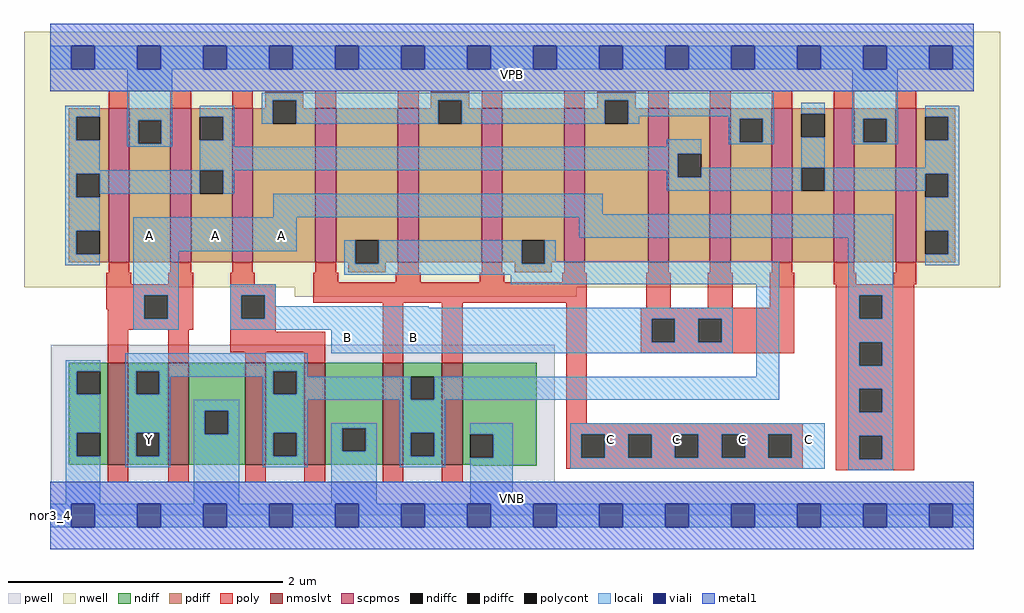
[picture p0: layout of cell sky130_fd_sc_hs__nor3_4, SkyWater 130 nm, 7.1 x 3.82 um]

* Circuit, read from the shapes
.subckt sky130_fd_sc_hs__nor3_4 A B C VGND VNB VPB VPWR Y
XM1 Y A VGND VNB sky130_fd_pr__nfet_01v8_lvt w=0.74 l=0.15 m=2
XM2 Y B VGND VNB sky130_fd_pr__nfet_01v8_lvt w=0.74 l=0.15 m=2
XM3 Y C VGND VNB sky130_fd_pr__nfet_01v8_lvt w=0.74 l=0.15 m=2
XM4 VPWR A n1 VPB sky130_fd_pr__pfet_01v8 w=1.12 l=0.15 m=4
XM5 n2 B n1 VPB sky130_fd_pr__pfet_01v8 w=1.12 l=0.15 m=4
XM6 Y C n2 VPB sky130_fd_pr__pfet_01v8 w=1.12 l=0.15 m=4
.ends

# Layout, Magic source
magic
tech sky130A
magscale 1 2
<< nwell >>
rect -38 332 1382 704
rect 356 318 766 332
<< pwell >>
rect 1 49 734 248
rect 0 0 1344 49
<< scpmos >>
rect 85 368 115 592
rect 175 368 205 592
rect 265 368 295 592
rect 386 368 416 592
rect 506 368 536 592
rect 628 368 658 592
rect 748 368 778 592
rect 870 368 900 592
rect 960 368 990 592
rect 1050 368 1080 592
rect 1140 368 1170 592
rect 1230 368 1260 592
<< nmoslvt >>
rect 84 74 114 222
rect 172 74 202 222
rect 284 74 314 222
rect 370 74 400 222
rect 484 74 514 222
rect 570 74 600 222
<< ndiff >>
rect 27 210 84 222
rect 27 176 39 210
rect 73 176 84 210
rect 27 120 84 176
rect 27 86 39 120
rect 73 86 84 120
rect 27 74 84 86
rect 114 210 172 222
rect 114 176 125 210
rect 159 176 172 210
rect 114 120 172 176
rect 114 86 125 120
rect 159 86 172 120
rect 114 74 172 86
rect 202 152 284 222
rect 202 118 225 152
rect 259 118 284 152
rect 202 74 284 118
rect 314 210 370 222
rect 314 176 325 210
rect 359 176 370 210
rect 314 120 370 176
rect 314 86 325 120
rect 359 86 370 120
rect 314 74 370 86
rect 400 127 484 222
rect 400 93 425 127
rect 459 93 484 127
rect 400 74 484 93
rect 514 202 570 222
rect 514 168 525 202
rect 559 168 570 202
rect 514 120 570 168
rect 514 86 525 120
rect 559 86 570 120
rect 514 74 570 86
rect 600 118 708 222
rect 600 84 611 118
rect 645 84 708 118
rect 600 74 708 84
rect 615 72 708 74
<< pdiff >>
rect 313 604 368 616
rect 313 592 324 604
rect 27 580 85 592
rect 27 546 38 580
rect 72 546 85 580
rect 27 497 85 546
rect 27 463 38 497
rect 72 463 85 497
rect 27 414 85 463
rect 27 380 38 414
rect 72 380 85 414
rect 27 368 85 380
rect 115 575 175 592
rect 115 541 128 575
rect 162 541 175 575
rect 115 368 175 541
rect 205 580 265 592
rect 205 546 218 580
rect 252 546 265 580
rect 205 502 265 546
rect 205 468 218 502
rect 252 468 265 502
rect 205 368 265 468
rect 295 570 324 592
rect 358 592 368 604
rect 554 604 610 616
rect 554 592 565 604
rect 358 570 386 592
rect 295 368 386 570
rect 416 400 506 592
rect 416 368 444 400
rect 434 366 444 368
rect 478 368 506 400
rect 536 570 565 592
rect 599 592 610 604
rect 796 604 852 616
rect 796 592 807 604
rect 599 570 628 592
rect 536 368 628 570
rect 658 400 748 592
rect 658 368 686 400
rect 478 366 488 368
rect 434 354 488 366
rect 676 366 686 368
rect 720 368 748 400
rect 778 570 807 592
rect 841 592 852 604
rect 841 570 870 592
rect 778 368 870 570
rect 900 526 960 592
rect 900 492 913 526
rect 947 492 960 526
rect 900 368 960 492
rect 990 577 1050 592
rect 990 543 1003 577
rect 1037 543 1050 577
rect 990 368 1050 543
rect 1080 584 1140 592
rect 1080 550 1093 584
rect 1127 550 1140 584
rect 1080 506 1140 550
rect 1080 472 1093 506
rect 1127 472 1140 506
rect 1080 368 1140 472
rect 1170 577 1230 592
rect 1170 543 1183 577
rect 1217 543 1230 577
rect 1170 368 1230 543
rect 1260 580 1317 592
rect 1260 546 1273 580
rect 1307 546 1317 580
rect 1260 497 1317 546
rect 1260 463 1273 497
rect 1307 463 1317 497
rect 1260 414 1317 463
rect 1260 380 1273 414
rect 1307 380 1317 414
rect 1260 368 1317 380
rect 720 366 730 368
rect 676 354 730 366
<< ndiffc >>
rect 39 176 73 210
rect 39 86 73 120
rect 125 176 159 210
rect 125 86 159 120
rect 225 118 259 152
rect 325 176 359 210
rect 325 86 359 120
rect 425 93 459 127
rect 525 168 559 202
rect 525 86 559 120
rect 611 84 645 118
<< pdiffc >>
rect 38 546 72 580
rect 38 463 72 497
rect 38 380 72 414
rect 128 541 162 575
rect 218 546 252 580
rect 218 468 252 502
rect 324 570 358 604
rect 444 366 478 400
rect 565 570 599 604
rect 686 366 720 400
rect 807 570 841 604
rect 913 492 947 526
rect 1003 543 1037 577
rect 1093 550 1127 584
rect 1093 472 1127 506
rect 1183 543 1217 577
rect 1273 546 1307 580
rect 1273 463 1307 497
rect 1273 380 1307 414
<< poly >>
rect 85 592 115 618
rect 175 592 205 618
rect 265 592 295 618
rect 386 592 416 618
rect 506 592 536 618
rect 85 353 115 368
rect 175 353 205 368
rect 265 353 295 368
rect 386 353 416 368
rect 628 592 658 618
rect 748 592 778 618
rect 506 353 536 368
rect 628 353 658 368
rect 870 592 900 618
rect 960 592 990 618
rect 1050 592 1080 618
rect 1140 592 1170 618
rect 1230 592 1260 618
rect 748 353 778 368
rect 870 353 900 368
rect 960 353 990 368
rect 1050 353 1080 368
rect 1140 353 1170 368
rect 1230 353 1260 368
rect 82 336 118 353
rect 172 336 208 353
rect 82 320 208 336
rect 82 300 137 320
rect 84 286 137 300
rect 171 286 208 320
rect 84 270 208 286
rect 262 336 298 353
rect 383 339 419 353
rect 503 339 539 353
rect 625 339 661 353
rect 745 339 781 353
rect 262 320 328 336
rect 262 286 278 320
rect 312 286 328 320
rect 383 309 781 339
rect 84 222 114 270
rect 172 222 202 270
rect 262 267 328 286
rect 262 237 400 267
rect 284 222 314 237
rect 370 222 400 237
rect 484 222 514 309
rect 570 222 600 309
rect 84 48 114 74
rect 172 48 202 74
rect 284 48 314 74
rect 370 48 400 74
rect 484 48 514 74
rect 570 48 600 74
rect 751 134 781 309
rect 867 302 903 353
rect 957 302 993 353
rect 1047 302 1083 353
rect 1140 336 1173 353
rect 1227 336 1260 353
rect 859 286 1083 302
rect 859 252 875 286
rect 909 252 943 286
rect 977 252 1083 286
rect 859 236 1083 252
rect 1143 320 1257 336
rect 1143 286 1177 320
rect 1211 286 1257 320
rect 1143 252 1257 286
rect 1143 218 1177 252
rect 1211 218 1257 252
rect 1143 184 1257 218
rect 1143 150 1177 184
rect 1211 150 1257 184
rect 751 118 1095 134
rect 751 84 773 118
rect 807 84 841 118
rect 875 84 909 118
rect 943 84 977 118
rect 1011 84 1045 118
rect 1079 84 1095 118
rect 751 68 1095 84
rect 1143 116 1257 150
rect 1143 82 1177 116
rect 1211 82 1257 116
rect 1143 66 1257 82
<< polycont >>
rect 137 286 171 320
rect 278 286 312 320
rect 875 252 909 286
rect 943 252 977 286
rect 1177 286 1211 320
rect 1177 218 1211 252
rect 1177 150 1211 184
rect 773 84 807 118
rect 841 84 875 118
rect 909 84 943 118
rect 977 84 1011 118
rect 1045 84 1079 118
rect 1177 82 1211 116
<< locali >>
rect 0 649 31 683
rect 65 649 127 683
rect 161 649 223 683
rect 257 649 319 683
rect 353 649 415 683
rect 449 649 511 683
rect 545 649 607 683
rect 641 649 703 683
rect 737 649 799 683
rect 833 649 895 683
rect 929 649 991 683
rect 1025 649 1087 683
rect 1121 649 1183 683
rect 1217 649 1279 683
rect 1313 649 1344 683
rect 22 580 72 596
rect 22 546 38 580
rect 22 502 72 546
rect 112 575 178 649
rect 308 604 1053 615
rect 112 541 128 575
rect 162 541 178 575
rect 112 536 178 541
rect 218 580 268 596
rect 252 546 268 580
rect 308 570 324 604
rect 358 570 565 604
rect 599 570 807 604
rect 841 581 1053 604
rect 841 570 857 581
rect 987 577 1053 581
rect 218 536 268 546
rect 897 536 947 547
rect 987 543 1003 577
rect 1037 543 1053 577
rect 987 540 1053 543
rect 1093 584 1127 600
rect 218 526 947 536
rect 218 502 913 526
rect 22 497 218 502
rect 22 463 38 497
rect 72 468 218 497
rect 252 468 268 502
rect 897 492 913 502
rect 1093 506 1127 550
rect 1167 577 1233 649
rect 1167 543 1183 577
rect 1217 543 1233 577
rect 1167 540 1233 543
rect 1273 580 1323 596
rect 1307 546 1323 580
rect 1273 506 1323 546
rect 947 492 1093 506
rect 897 472 1093 492
rect 1127 497 1323 506
rect 1127 472 1273 497
rect 22 414 72 463
rect 325 438 804 468
rect 1307 463 1323 497
rect 325 434 1227 438
rect 22 380 38 414
rect 22 364 72 380
rect 121 384 359 434
rect 770 404 1227 434
rect 121 320 187 384
rect 428 366 444 400
rect 478 366 686 400
rect 720 370 736 400
rect 720 366 1061 370
rect 428 350 1061 366
rect 670 336 1061 350
rect 121 286 137 320
rect 171 286 187 320
rect 121 270 187 286
rect 262 320 328 336
rect 262 286 278 320
rect 312 304 328 320
rect 312 302 551 304
rect 312 286 993 302
rect 262 270 875 286
rect 409 252 875 270
rect 909 252 943 286
rect 977 252 993 286
rect 409 236 993 252
rect 23 210 73 226
rect 23 176 39 210
rect 23 120 73 176
rect 23 86 39 120
rect 23 17 73 86
rect 109 210 375 236
rect 109 176 125 210
rect 159 202 325 210
rect 159 176 175 202
rect 109 120 175 176
rect 309 176 325 202
rect 359 202 375 210
rect 1027 202 1061 336
rect 359 176 525 202
rect 309 168 525 176
rect 559 168 1061 202
rect 1161 320 1227 404
rect 1273 414 1323 463
rect 1307 380 1323 414
rect 1273 364 1323 380
rect 1161 286 1177 320
rect 1211 286 1227 320
rect 1161 252 1227 286
rect 1161 218 1177 252
rect 1211 218 1227 252
rect 1161 184 1227 218
rect 109 86 125 120
rect 159 86 175 120
rect 109 70 175 86
rect 209 152 275 168
rect 209 118 225 152
rect 259 118 275 152
rect 209 17 275 118
rect 309 120 375 168
rect 309 86 325 120
rect 359 86 375 120
rect 309 70 375 86
rect 409 127 475 134
rect 409 93 425 127
rect 459 93 475 127
rect 409 17 475 93
rect 509 120 575 168
rect 1161 150 1177 184
rect 1211 150 1227 184
rect 509 86 525 120
rect 559 86 575 120
rect 509 70 575 86
rect 611 118 673 134
rect 645 84 673 118
rect 611 17 673 84
rect 757 118 1127 134
rect 757 84 773 118
rect 807 84 841 118
rect 875 84 909 118
rect 943 84 977 118
rect 1011 84 1045 118
rect 1079 84 1127 118
rect 757 68 1127 84
rect 1161 116 1227 150
rect 1161 82 1177 116
rect 1211 82 1227 116
rect 1161 66 1227 82
rect 0 -17 31 17
rect 65 -17 127 17
rect 161 -17 223 17
rect 257 -17 319 17
rect 353 -17 415 17
rect 449 -17 511 17
rect 545 -17 607 17
rect 641 -17 703 17
rect 737 -17 799 17
rect 833 -17 895 17
rect 929 -17 991 17
rect 1025 -17 1087 17
rect 1121 -17 1183 17
rect 1217 -17 1279 17
rect 1313 -17 1344 17
<< viali >>
rect 31 649 65 683
rect 127 649 161 683
rect 223 649 257 683
rect 319 649 353 683
rect 415 649 449 683
rect 511 649 545 683
rect 607 649 641 683
rect 703 649 737 683
rect 799 649 833 683
rect 895 649 929 683
rect 991 649 1025 683
rect 1087 649 1121 683
rect 1183 649 1217 683
rect 1279 649 1313 683
rect 31 -17 65 17
rect 127 -17 161 17
rect 223 -17 257 17
rect 319 -17 353 17
rect 415 -17 449 17
rect 511 -17 545 17
rect 607 -17 641 17
rect 703 -17 737 17
rect 799 -17 833 17
rect 895 -17 929 17
rect 991 -17 1025 17
rect 1087 -17 1121 17
rect 1183 -17 1217 17
rect 1279 -17 1313 17
<< metal1 >>
rect 0 683 1344 715
rect 0 649 31 683
rect 65 649 127 683
rect 161 649 223 683
rect 257 649 319 683
rect 353 649 415 683
rect 449 649 511 683
rect 545 649 607 683
rect 641 649 703 683
rect 737 649 799 683
rect 833 649 895 683
rect 929 649 991 683
rect 1025 649 1087 683
rect 1121 649 1183 683
rect 1217 649 1279 683
rect 1313 649 1344 683
rect 0 617 1344 649
rect 0 17 1344 49
rect 0 -17 31 17
rect 65 -17 127 17
rect 161 -17 223 17
rect 257 -17 319 17
rect 353 -17 415 17
rect 449 -17 511 17
rect 545 -17 607 17
rect 641 -17 703 17
rect 737 -17 799 17
rect 833 -17 895 17
rect 929 -17 991 17
rect 1025 -17 1087 17
rect 1121 -17 1183 17
rect 1217 -17 1279 17
rect 1313 -17 1344 17
rect 0 -49 1344 -17
<< labels >>
rlabel comment s 0 0 0 0 4 nor3_4
flabel pwell s 0 0 1344 49 0 FreeSans 200 0 0 0 VNB
port 5 nsew ground bidirectional
flabel nwell s 0 617 1344 666 0 FreeSans 200 0 0 0 VPB
port 6 nsew power bidirectional
flabel metal1 s 0 617 1344 666 0 FreeSans 340 0 0 0 VPWR
port 7 nsew power bidirectional
flabel metal1 s 0 0 1344 49 0 FreeSans 340 0 0 0 VGND
port 4 nsew ground bidirectional
flabel locali s 127 390 161 424 0 FreeSans 340 0 0 0 A
port 1 nsew signal input
flabel locali s 223 390 257 424 0 FreeSans 340 0 0 0 A
port 1 nsew signal input
flabel locali s 319 390 353 424 0 FreeSans 340 0 0 0 A
port 1 nsew signal input
flabel locali s 415 242 449 276 0 FreeSans 340 0 0 0 B
port 2 nsew signal input
flabel locali s 511 242 545 276 0 FreeSans 340 0 0 0 B
port 2 nsew signal input
flabel locali s 799 94 833 128 0 FreeSans 340 0 0 0 C
port 3 nsew signal input
flabel locali s 895 94 929 128 0 FreeSans 340 0 0 0 C
port 3 nsew signal input
flabel locali s 991 94 1025 128 0 FreeSans 340 0 0 0 C
port 3 nsew signal input
flabel locali s 1087 94 1121 128 0 FreeSans 340 0 0 0 C
port 3 nsew signal input
flabel locali s 127 94 161 128 0 FreeSans 340 0 0 0 Y
port 8 nsew signal output
<< properties >>
string LEFsite unit
string LEFclass CORE
string FIXED_BBOX 0 0 1344 666
string GDS_FILE $PDKPATH/libs.ref/sky130_fd_sc_hs/gds/sky130_fd_sc_hs.gds
string LEFsymmetry X Y
string GDS_END 1572872
string GDS_START 1562880
<< end >>
